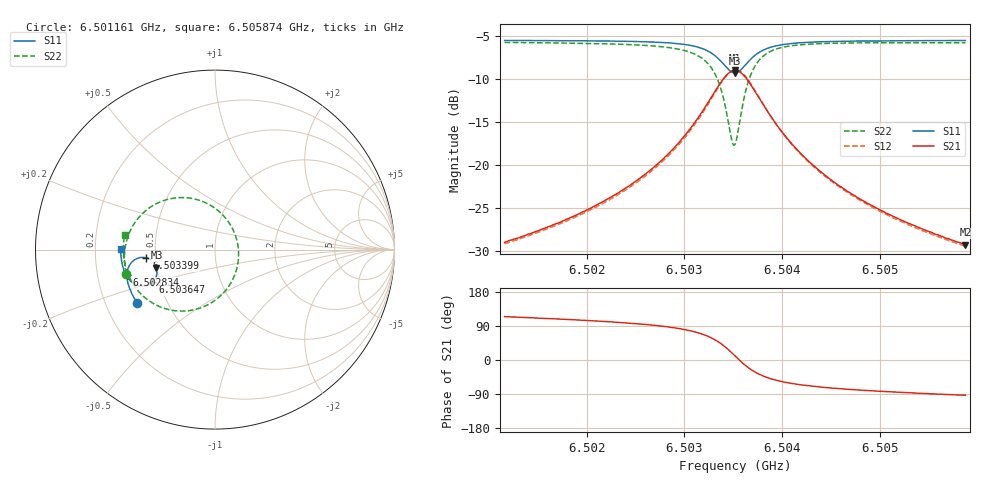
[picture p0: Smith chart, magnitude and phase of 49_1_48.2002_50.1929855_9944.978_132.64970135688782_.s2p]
#  HZ  S  RI  R  50.00
! Rohde & Schwarz Vector Network Analyzer
! Rohde-Schwarz,ZNB20-2Port,1311601062101988,3.16
! Created: UTC 3/20/2024, 11:38:11 AM
! freq[Hz]  re:S11  im:S11  re:S21  im:S21  re:S12  im:S12  re:S22  im:S22
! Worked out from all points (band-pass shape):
!   401 points, 6.501161 GHz to 6.505874 GHz, reference 50 ohm
!   highest |S21| = -9.04 dB at 6.503517 GHz (marker M1); lowest = -29.2 dB at 6.505874 GHz (marker M2)
!   |S21| within 3 dB of the highest: 6.503281 GHz to 6.503753 GHz (471.9 kHz wide, 0.00726 % of centre)
!   lowest |S11| = -9.3 dB at 6.503517 GHz (marker M3), VSWR 2.04, Z = 25 - j5.67 ohm
!   |S11| at or under -10 dB: nowhere
!   |S22| runs from -17.7 to -5.8 dB; largest |S21 - S12| = 0.012
!   S11 on the Smith chart (normalised r, x): 6.501161 GHz: 0.34, -0.28; 6.502834 GHz: 0.33, -0.13; 6.503399 GHz: 0.45, -0.05; 6.503647 GHz: 0.46, -0.20; 6.505874 GHz: 0.31, +0.00
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6.5011605e9  -0.4357 -0.2955  -0.0148 0.0325  -0.013 0.0325  -0.495 -0.1339
6.50195e9  -0.4682 -0.2352  -0.0137 0.0515  -0.0113 0.0508  -0.5045 -0.0461
6.5023624e9  -0.4822 -0.1974  -0.0108 0.0705  -0.0077 0.0693  -0.4996 0.0159
6.5027395e9  -0.4901 -0.1538  -0.000407 0.1031  0.00328 0.1006  -0.4763 0.0962
6.5028338e9  -0.4903 -0.1403  0.00555 0.1157  0.0093 0.1126  -0.4632 0.1232
6.5030341e9  -0.4847 -0.1057  0.0308 0.1527  0.0343 0.1478  -0.411 0.1942
6.5031755e9  -0.4681 -0.0751  0.0726 0.1876  0.0752 0.1815  -0.33 0.2544
6.5033051e9  -0.4303 -0.0481  0.1531 0.2139  0.1537 0.2074  -0.1832 0.2898
6.5033994e9  -0.3818 -0.0461  0.2483 0.1956  0.2482 0.1911  -0.0184 0.2429
6.5034819e9  -0.3374 -0.0772  0.329 0.1172  0.3317 0.1131  0.1105 0.0877
6.5035172e9  -0.3262 -0.1003  0.3469 0.0662  0.3509 0.0608  0.1312 -0.00845
6.5035408e9  -0.3232 -0.1174  0.3501 0.0301  0.3544 0.0233  0.1278 -0.0747
6.5035761e9  -0.3256 -0.1424  0.342 -0.0219  0.346 -0.0312  0.0983 -0.1674
6.5036468e9  -0.3488 -0.1813  0.2929 -0.1011  0.2929 -0.113  -0.0178 -0.2951
6.5037411e9  -0.3911 -0.2019  0.2112 -0.1454  0.2061 -0.1561  -0.1843 -0.3426
6.5038118e9  -0.4183 -0.2019  0.1617 -0.1507  0.1548 -0.1589  -0.2771 -0.3292
6.5038943e9  -0.442 -0.1947  0.1196 -0.1442  0.1122 -0.1498  -0.3507 -0.2961
6.5040593e9  -0.472 -0.1736  0.07 -0.1222  0.0632 -0.1247  -0.4314 -0.2265
6.5043067e9  -0.4949 -0.1424  0.036 -0.0943  0.0308 -0.0947  -0.4806 -0.1465
6.5046956e9  -0.512 -0.1005  0.0147 -0.0675  0.0112 -0.0668  -0.5051 -0.0636
6.5050962e9  -0.5204 -0.0626  0.00556 -0.0514  0.00307 -0.0506  -0.5107 -0.00386
6.5058739e9  -0.526 0.00429  -0.00175 -0.0345  -0.00327 -0.0338  -0.5041 0.0824
